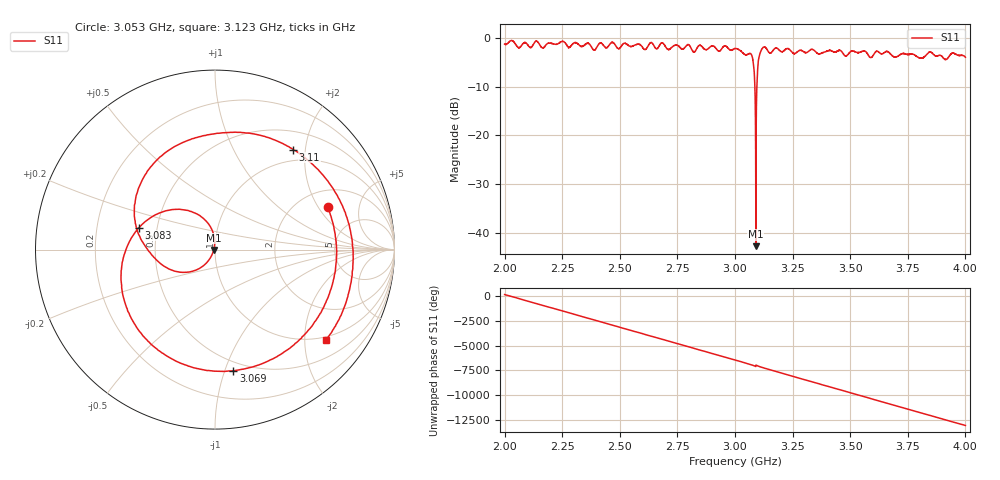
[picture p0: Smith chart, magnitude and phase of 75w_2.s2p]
!Agilent Technologies,E8362B,MY43021131,A.07.50.67
!Agilent E8362B: A.07.50.67
!Date: Thursday, March 14, 2024 13:44:29
!Correction: S11(Off)
!S21(Off)
!S12(Off)
!S22(Off)
!S2P File: Measurements: S11, S21, S12, S22:
# Hz S  RI  R 50
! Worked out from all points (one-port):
!   20001 points, 2 GHz to 4 GHz, reference 50 ohm
!   lowest |S11| = -42.7 dB at 3.091 GHz (marker M1), VSWR 1.01, Z = 49.3 - j0.187 ohm
!   |S11| at or under -10 dB: 3.086222 GHz to 3.094964 GHz (8.741 MHz wide, 0.283 % of centre)
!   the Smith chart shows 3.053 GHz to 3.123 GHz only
!   S11 on the Smith chart (normalised r, x): 3.053 GHz: 2.83, +2.44; 3.069 GHz: 0.42, -1.07; 3.083 GHz: 0.39, +0.12; 3.11 GHz: 0.79, +1.77; 3.123 GHz: 0.91, -2.53
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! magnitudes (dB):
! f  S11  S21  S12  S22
! 2 GHz  -1.3  -  -  -
! 2.333 GHz  -1.8  -  -  -
! 2.667 GHz  -2.0  -  -  -
! 3 GHz  -2.2  -  -  -
! 3.053 GHz  -3.5  -  -  -
! 3.069 GHz  -3.3  -  -  -
! 3.078 GHz  -4.5  -  -  -
! 3.083 GHz  -7.1  -  -  -
! 3.091 GHz  -42.7  -  -  -
! 3.097 GHz  -7.5  -  -  -
! 3.103 GHz  -4.2  -  -  -
! 3.11 GHz  -3.0  -  -  -
! 3.123 GHz  -2.0  -  -  -
! 3.153 GHz  -3.2  -  -  -
! 3.333 GHz  -2.4  -  -  -
! 3.481 GHz  -3.8  -  -  -
! 3.56 GHz  -2.7  -  -  -
! 3.589 GHz  -4.1  -  -  -
! 3.667 GHz  -3.0  -  -  -
! 3.695 GHz  -4.0  -  -  -
! 3.847 GHz  -2.9  -  -  -
! 4 GHz  -4.0  -  -  -
